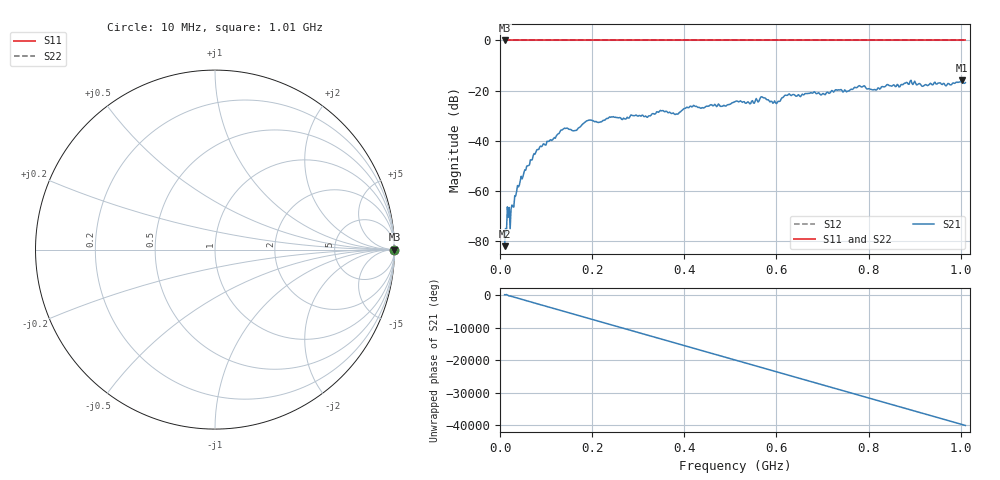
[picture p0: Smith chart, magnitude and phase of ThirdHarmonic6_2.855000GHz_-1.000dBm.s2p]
! 8/17/2025 7:45:05 AM
! C:\ANRITSUVNA\TEMP\TEMP.S2P
! CHANNEL.1
! TR.MEASUREMENT
! RAW.DATA
! RF.CORRECTION.OFF
! AVERAGING.OFF
! IF.BANDWIDTH: 5KHZ
! SWEEPTYPE:  FREQ.SWEEP(Linear)
! Reference Plane Port Info
! PORT:  PORT1  PORT2
! DISTANCE:  0  m  0  m
! TIME:  0  s  0  s
! PHASE.OFFSET:  0  deg.  0  deg.
! LOSS:  0  dB  0  dB
! REF.LOSS:  0  dB  0  dB
! REF.FREQ:  0  Hz  0  Hz
! Power Info
! POWER:  -20  dBm  -20  dBm
! EFF.POWER:  -20  dBm  -20  dBm
! SOURCE.ATTEN:  0  dB  0  dB
! TEST.ATTEN:  0  dB  0  dB
# GHZ S RI R 50.0
! FREQ.GHZ  S11RE  S11IM  S21RE  S21IM  S12RE  S12IM  S22RE  S22IM
!; PortSelection: Port_12
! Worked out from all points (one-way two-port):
!   501 points, 10 MHz to 1.01 GHz, reference 50 ohm
!   highest |S21| = -15.84 dB at 1.002 GHz (marker M1); lowest = -82.0 dB at 10 MHz (marker M2)
!   lowest |S11| = 0.0 dB at 10 MHz (marker M3)
!   |S11| at or under -10 dB: nowhere
!   |S22| runs from 0.0 to 0.0 dB; largest |S21 - S12| = 1.2
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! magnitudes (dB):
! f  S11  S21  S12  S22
! 10 MHz  0.0  -82.0  0.0  0.0
! 16 MHz  0.0  -66.3  0.0  0.0
! 26 MHz  0.0  -65.5  0.0  0.0
! 42 MHz  0.0  -57.6  0.0  0.0
! 76 MHz  0.0  -45.3  0.0  0.0
! 136 MHz  0.0  -35.5  0.0  0.0
! 162 MHz  0.0  -35.9  0.0  0.0
! 178 MHz  0.0  -33.5  0.0  0.0
! 192 MHz  0.0  -31.8  0.0  0.0
! 322 MHz  0.0  -30.2  0.0  0.0
! 344 MHz  0.0  -28.6  0.0  0.0
! 382 MHz  0.0  -29.3  0.0  0.0
! 416 MHz  0.0  -26.5  0.0  0.0
! 510 MHz  0.0  -24.4  0.0  0.0
! 548 MHz  0.0  -24.0  0.0  0.0
! 570 MHz  0.0  -22.6  0.0  0.0
! 596 MHz  0.0  -24.1  0.0  0.0
! 624 MHz  0.0  -21.8  0.0  0.0
! 678 MHz  0.0  -21.0  0.0  0.0
! 844 MHz  0.0  -17.9  0.0  0.0
! 1.002 GHz  0.0  -15.8  0.0  0.0
! 1.01 GHz  0.0  -16.8  0.0  0.0
